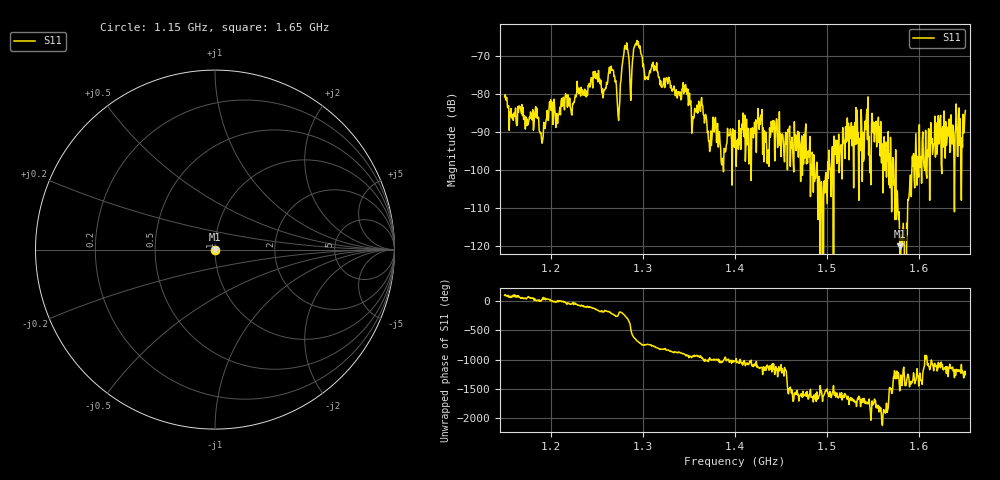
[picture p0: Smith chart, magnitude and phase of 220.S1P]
! C:\Users\rflab\Downloads\Lab5_KD_ZW\Q2\220.S1P
! Touchstone 1.1 file saved by VNA.EXE V1.65 (www.ke5fx.com/gpib/readme.htm)
! 11/12/2024 1:26:17 AM
!  Source: HEWLETT PACKARD,8753D,0,6.14
!  Min freq: 1.150000E+009 Hz
!  Max freq: 1.650000E+009 Hz
!  Points: 801
!  Params: S21
# GHZ S RI R 50
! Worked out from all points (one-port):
!   801 points, 1.15 GHz to 1.65 GHz, reference 50 ohm
!   lowest |S11| = -120.0 dB at 1.579 GHz (marker M1), VSWR 1.00, Z = 50 - j0.0001 ohm
!   |S11| at or under -10 dB: start of sweep to end of sweep
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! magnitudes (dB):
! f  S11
! 1.15 GHz  -80.8
! 1.212 GHz  -83.3
! 1.238 GHz  -80.5
! 1.249 GHz  -76.1
! 1.258 GHz  -79.5
! 1.266 GHz  -72.7
! 1.272 GHz  -82.4
! 1.275 GHz  -82.0
! 1.281 GHz  -67.3
! 1.282 GHz  -66.6
! 1.285 GHz  -71.0
! 1.287 GHz  -81.7
! 1.289 GHz  -71.4
! 1.291 GHz  -67.4
! 1.294 GHz  -67.1
! 1.304 GHz  -76.0
! 1.312 GHz  -72.7
! 1.319 GHz  -76.6
! 1.327 GHz  -77.3
! 1.337 GHz  -81.1
! 1.345 GHz  -77.9
! 1.352 GHz  -81.8
! 1.4 GHz  -89.6
! 1.462 GHz  -94.0
! 1.525 GHz  -89.7
! 1.579 GHz  -120.0
! 1.587 GHz  -107.7
! 1.65 GHz  -84.4
